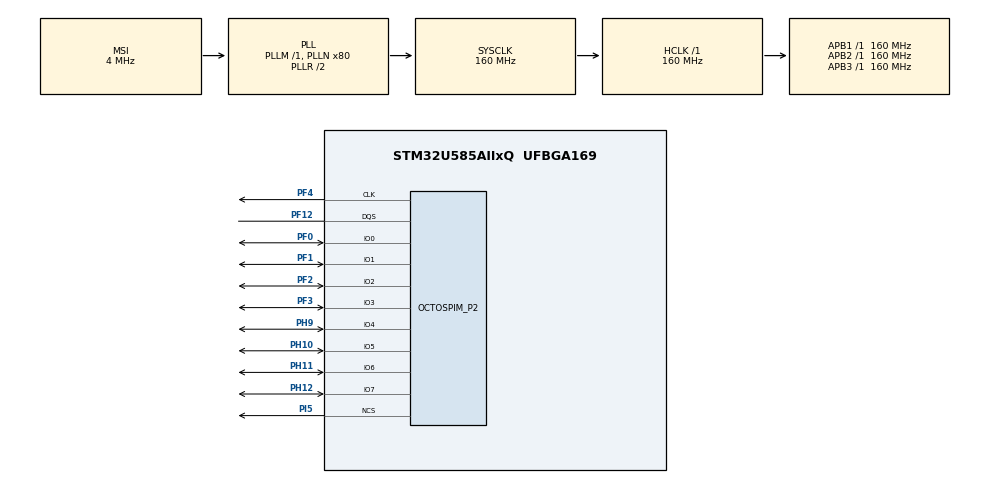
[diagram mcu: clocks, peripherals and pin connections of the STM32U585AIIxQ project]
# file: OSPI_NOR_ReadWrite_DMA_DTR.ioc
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CORTEX_M33_NS.userName=CORTEX_M33
DCACHE1.DCACHE_Read_Burst_Type=DCACHE_READ_BURST_INCR
GPDMA1.DESTBURSTLENGTH_GPDMACH12=4
GPDMA1.DESTDATAWIDTH_GPDMACH12=DMA_DEST_DATAWIDTH_WORD
GPDMA1.DESTINC_GPDMACH12=DMA_DINC_INCREMENTED
GPDMA1.IPHANDLE_GPDMACH12-SIMPLEREQUEST_GPDMACH12=__NULL
GPDMA1.PRIORITY_GPDMACH12=DMA_HIGH_PRIORITY
GPDMA1.REQUEST_GPDMACH12=GPDMA1_REQUEST_OCTOSPI2
GPDMA1.SRCBURSTLENGTH_GPDMACH12=4
GPDMA1.SRCDATAWIDTH_GPDMACH12=DMA_SRC_DATAWIDTH_WORD
GPDMA1.TRANSFERALLOCATEDPORTDEST_GPDMACH12=DMA_DEST_ALLOCATED_PORT1
Mcu.Family=STM32U5
Mcu.Name=STM32U585AIIxQ
Mcu.Package=UFBGA169
NVIC.GPDMA1_Channel12_IRQn=true\:0\:0\:false\:false\:true\:false\:true\:true
NVIC.OCTOSPI2_IRQn=true\:0\:0\:false\:false\:true\:true\:true\:true
NVIC.PriorityGroup=NVIC_PRIORITYGROUP_4
OCTOSPI2.ChipSelectBoundary=0
OCTOSPI2.ChipSelectHighTime=2
OCTOSPI2.ClockPrescaler=4
OCTOSPI2.DelayBlockBypass=HAL_OSPI_DELAY_BLOCK_USED
OCTOSPI2.DelayHoldQuarterCycle=HAL_OSPI_DHQC_ENABLE
OCTOSPI2.DeviceSize=26
OCTOSPI2.FifoThreshold=16
OCTOSPI2.MemoryType=HAL_OSPI_MEMTYPE_MACRONIX
OCTOSPI2.PhaseSel=2
OCTOSPI2.Units=56
PF0.GPIO_Speed_High_Default=GPIO_SPEED_FREQ_HIGH
PF0.Mode=OCTOSPI2_IOL_Port2L
PF0.Signal=OCTOSPIM_P2_IO0
PF1.GPIO_Speed_High_Default=GPIO_SPEED_FREQ_HIGH
PF1.Mode=OCTOSPI2_IOL_Port2L
PF1.Signal=OCTOSPIM_P2_IO1
PF12.GPIO_Speed_High_Default=GPIO_SPEED_FREQ_HIGH
PF12.Mode=OCTOSPI2_Port2_DQS
PF12.Signal=OCTOSPIM_P2_DQS
PF2.GPIO_Speed_High_Default=GPIO_SPEED_FREQ_HIGH
PF2.Mode=OCTOSPI2_IOL_Port2L
PF2.Signal=OCTOSPIM_P2_IO2
PF3.GPIO_Speed_High_Default=GPIO_SPEED_FREQ_HIGH
PF3.Mode=OCTOSPI2_IOL_Port2L
PF3.Signal=OCTOSPIM_P2_IO3
PF4.GPIO_Speed_High_Default=GPIO_SPEED_FREQ_HIGH
PF4.Mode=O2_P2_CLK
PF4.Signal=OCTOSPIM_P2_CLK
PH10.GPIO_Speed_High_Default=GPIO_SPEED_FREQ_HIGH
PH10.Mode=OCTOSPI2_IOH_Port2H
PH10.Signal=OCTOSPIM_P2_IO5
PH11.GPIO_Speed_High_Default=GPIO_SPEED_FREQ_HIGH
PH11.Mode=OCTOSPI2_IOH_Port2H
PH11.Signal=OCTOSPIM_P2_IO6
PH12.GPIO_Speed_High_Default=GPIO_SPEED_FREQ_HIGH
PH12.Mode=OCTOSPI2_IOH_Port2H
PH12.Signal=OCTOSPIM_P2_IO7
PH9.GPIO_Speed_High_Default=GPIO_SPEED_FREQ_HIGH
PH9.Mode=OCTOSPI2_IOH_Port2H
PH9.Signal=OCTOSPIM_P2_IO4
PI5.GPIO_PuPd=GPIO_NOPULL
PI5.GPIO_Speed_High_Default=GPIO_SPEED_FREQ_HIGH
PI5.Mode=OCTOSPI2_Port2_NCS
PI5.Signal=OCTOSPIM_P2_NCS
PWR.PowerMode=PWR_SMPS_SUPPLY
ProjectManager.HeapSize=0x200
ProjectManager.StackSize=0x400
ProjectManager.TargetToolchain=EWARM V8.50
RCC.ADCFreq_Value=16000000
RCC.AHBFreq_Value=160000000
RCC.APB1Freq_Value=160000000
RCC.APB1TimFreq_Value=160000000
RCC.APB2Freq_Value=160000000
RCC.APB2TimFreq_Value=160000000
RCC.APB3Freq_Value=160000000
RCC.CortexFreq_Value=160000000
RCC.DACCLockSelectionVirtual=RCC_DAC1CLKSOURCE_LSI
RCC.DACCLockSelectionVirtualString=RCC_DAC1CLKSOURCE_LSI
RCC.EPOD_VALUE=4000000
RCC.HCLKFreq_Value=160000000
RCC.HSE_VALUE=16000000
RCC.HSI48_VALUE=48000000
RCC.HSI_VALUE=16000000
RCC.LSE_VALUE=32768
RCC.LSIDIV_VALUE=32000
RCC.MSI_VALUE=4000000
RCC.PLLN=80
RCC.SYSCLKFreq_VALUE=160000000
RCC.SYSCLKSource=RCC_SYSCLKSOURCE_PLLCLK
RCC.USBFreq_Value=48000000
RCC.VCOOutputFreq_Value=320000000
VP_DCACHE1_VS_DCACHE.Mode=DCACHE_Activate
VP_GPDMA1_VS_GPDMACH12.Mode=SIMPLEREQUEST_GPDMACH12
VP_ICACHE_VS_ICACHE.Mode=DirectMappedCache
VP_LPBAMQUEUE_VS_QUEUE.Mode=QUEUEMODE
VP_LPBAM_VS_SIG1.Mode=SmartRun
VP_LPBAM_VS_SIG4.Mode=LPDMA1
VP_OCTOSPI2_VS_octo.Mode=octo_mode
VP_PWR_VS_DBSignals.Mode=DisableDeadBatterySignals
VP_PWR_VS_LPOM.Mode=PowerOptimisation
VP_PWR_VS_SECSignals.Mode=Security/Privilege
board=custom

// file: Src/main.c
/* USER CODE BEGIN Header */
/**
  ******************************************************************************
  * @file           : main.c
  * @brief          : Main program body
  ******************************************************************************
  * @attention
  *
  * Copyright (c) 2021 STMicroelectronics.
  * All rights reserved.
  *
  * This software is licensed under terms that can be found in the LICENSE file
  * in the root directory of this software component.
  * If no LICENSE file comes with this software, it is provided AS-IS.
  *
  ******************************************************************************
  */
/* USER CODE END Header */
#include "main.h"

DCACHE_HandleTypeDef hdcache1;

OSPI_HandleTypeDef hospi2;
DMA_HandleTypeDef handle_GPDMA1_Channel12;

/* USER CODE BEGIN PV */
uint8_t CmdCplt, TxCplt , StatusMatch , RxCplt;

/* Buffer used for transmission */
uint8_t aTxBuffer[BUFFERSIZE];

/* Buffer used for reception */
uint8_t aRxBuffer[BUFFERSIZE];
/* USER CODE END PV */

void SystemClock_Config(void);
static void SystemPower_Config(void);
static void MX_GPIO_Init(void);
static void MX_GPDMA1_Init(void);
static void MX_ICACHE_Init(void);
static void MX_DCACHE1_Init(void);
static void MX_OCTOSPI2_Init(void);
/* USER CODE BEGIN PFP */
static void OSPI_WriteEnable(OSPI_HandleTypeDef *hospi);
static void OSPI_AutoPollingMemReady(OSPI_HandleTypeDef *hospi);
static void OSPI_OctalDtrModeCfg(OSPI_HandleTypeDef *hospi);
/* USER CODE END PFP */

int main(void)
{

  /* USER CODE BEGIN 1 */
  OSPI_RegularCmdTypeDef sCommand = {0};
  uint32_t address = 0;
  uint16_t index, errorBuffer = 0;
  __IO uint8_t step = 0;
  /* STM32U5xx HAL library initialization:
  - Configure the Flash prefetch
  - Configure the Systick to generate an interrupt each 1 msec
  - Set NVIC Group Priority to 3
  - Low Level Initialization
  */
  /* USER CODE END 1 */

  /* MCU Configuration--------------------------------------------------------*/

  /* Reset of all peripherals, Initializes the Flash interface and the Systick. */
  HAL_Init();

  /* Configure the System Power */
  SystemPower_Config();

  /* Configure the system clock */
  SystemClock_Config();

  /* USER CODE BEGIN SysInit */
  BSP_LED_Init(LED6);
  BSP_LED_Init(LED7);
  /* USER CODE END SysInit */

  /* Initialize all configured peripherals */
  MX_GPIO_Init();
  MX_GPDMA1_Init();
  MX_ICACHE_Init();
  MX_DCACHE1_Init();
  MX_OCTOSPI2_Init();
  /* USER CODE BEGIN 2 */
  /* Configure the memory in octal mode ------------------------------------- */
  OSPI_OctalDtrModeCfg(&hospi2);

  /* USER CODE END 2 */

  /* Infinite loop */
  /* USER CODE BEGIN WHILE */
  while (1)
  {
    switch(step)
    {
    case 0:
      CmdCplt = 0;

      /* Initialize Transmission and Reception buffer --------------------------------------- */
      for (index = 0; index < BUFFERSIZE; index++)
      {
        aTxBuffer[index] = index;
        aRxBuffer[index] = 0;
      }

      /* Enable write operations ------------------------------------------- */
      OSPI_WriteEnable(&hospi2);

      /* Erasing Sequence -------------------------------------------------- */
      sCommand.OperationType      = HAL_OSPI_OPTYPE_COMMON_CFG;
      sCommand.FlashId            = HAL_OSPI_FLASH_ID_1;
      sCommand.Instruction        = OCTAL_SECTOR_ERASE_CMD;
      sCommand.InstructionMode    = HAL_OSPI_INSTRUCTION_8_LINES;
      sCommand.InstructionSize    = HAL_OSPI_INSTRUCTION_16_BITS;
      sCommand.InstructionDtrMode = HAL_OSPI_INSTRUCTION_DTR_ENABLE;
      sCommand.AddressMode        = HAL_OSPI_ADDRESS_8_LINES;
      sCommand.Address            = address;
      sCommand.AddressSize        = HAL_OSPI_ADDRESS_32_BITS;
      sCommand.AddressDtrMode     = HAL_OSPI_ADDRESS_DTR_ENABLE;
      sCommand.DataMode           = HAL_OSPI_DATA_NONE;
      sCommand.DummyCycles        = 0;
      sCommand.DQSMode            = HAL_OSPI_DQS_DISABLE;
      sCommand.AlternateBytesMode = HAL_OSPI_ALTERNATE_BYTES_NONE;
      sCommand.DataDtrMode        = HAL_OSPI_DATA_DTR_ENABLE;
      sCommand.SIOOMode           = HAL_OSPI_SIOO_INST_EVERY_CMD;

      if (HAL_OSPI_Command_IT(&hospi2, &sCommand) != HAL_OK)
      {
        Error_Handler();
      }

      step++;

      break;

    case 1:

      if(CmdCplt != 0)
      {
        CmdCplt = 0;
        TxCplt = 0;

        /* Configure automatic polling mode to wait for end of erase ------ */
        OSPI_AutoPollingMemReady(&hospi2);

        /* Enable write operations ---------------------------------------- */
        OSPI_WriteEnable(&hospi2);

        /* Writing Sequence ----------------------------------------------- */
        sCommand.Instruction = OCTAL_PAGE_PROG_CMD;
        sCommand.DataMode    = HAL_OSPI_DATA_8_LINES;
        sCommand.NbData      = BUFFERSIZE;

        if (HAL_OSPI_Command(&hospi2, &sCommand, HAL_OSPI_TIMEOUT_DEFAULT_VALUE) != HAL_OK)
        {
          Error_Handler();
        }

        if (HAL_OSPI_Transmit_DMA(&hospi2, aTxBuffer) != HAL_OK)
        {
          Error_Handler();
        }

        step++;
      }
      break;

    case 2:

      if(TxCplt != 0)
      {
        TxCplt = 0;
        RxCplt = 0;

        /* Configure automatic polling mode to wait for end of program ---- */
        OSPI_AutoPollingMemReady(&hospi2);

        /* Reading Sequence ----------------------------------------------- */
        sCommand.Instruction = OCTAL_IO_DTR_READ_CMD;
        sCommand.DummyCycles = DUMMY_CLOCK_CYCLES_READ;
        sCommand.DQSMode     = HAL_OSPI_DQS_ENABLE;

        if (HAL_OSPI_Command(&hospi2, &sCommand, HAL_OSPI_TIMEOUT_DEFAULT_VALUE) != HAL_OK)
        {
          Error_Handler();
        }

        if (HAL_OSPI_Receive_DMA(&hospi2, aRxBuffer) != HAL_OK)
        {
          Error_Handler();
        }
        step++;
      }
      break;

    case 3:

      if (RxCplt != 0)
      {
        RxCplt = 0;

        /* Result comparison ----------------------------------------------- */
        for (index = 0; index < BUFFERSIZE; index++)
        {
          if (aRxBuffer[index] != aTxBuffer[index])
          {
            BSP_LED_On(LED6);
            errorBuffer++;
          }
        }
        if (errorBuffer == 0)
        {
          BSP_LED_Toggle(LED7);
          HAL_Delay(50);
        }
        address += OSPI_PAGE_SIZE;
        if(address >= OSPI_END_ADDR)
        {
          address = 0;
        }
        step = 0;
      }

      break;

    default :
      Error_Handler();
    }
    /* USER CODE END WHILE */

  }
}

void SystemClock_Config(void)
{
  RCC_OscInitTypeDef RCC_OscInitStruct = {0};
  RCC_ClkInitTypeDef RCC_ClkInitStruct = {0};

  /** Configure the main internal regulator output voltage
  */
  if (HAL_PWREx_ControlVoltageScaling(PWR_REGULATOR_VOLTAGE_SCALE1) != HAL_OK)
  {
    Error_Handler();
  }

  /** Initializes the CPU, AHB and APB buses clocks
  */
  RCC_OscInitStruct.OscillatorType = RCC_OSCILLATORTYPE_MSI;
  RCC_OscInitStruct.MSIState = RCC_MSI_ON;
  RCC_OscInitStruct.MSICalibrationValue = RCC_MSICALIBRATION_DEFAULT;
  RCC_OscInitStruct.MSIClockRange = RCC_MSIRANGE_4;
  RCC_OscInitStruct.PLL.PLLState = RCC_PLL_ON;
  RCC_OscInitStruct.PLL.PLLSource = RCC_PLLSOURCE_MSI;
  RCC_OscInitStruct.PLL.PLLMBOOST = RCC_PLLMBOOST_DIV1;
  RCC_OscInitStruct.PLL.PLLM = 1;
  RCC_OscInitStruct.PLL.PLLN = 80;
  RCC_OscInitStruct.PLL.PLLP = 2;
  RCC_OscInitStruct.PLL.PLLQ = 2;
  RCC_OscInitStruct.PLL.PLLR = 2;
  RCC_OscInitStruct.PLL.PLLRGE = RCC_PLLVCIRANGE_0;
  RCC_OscInitStruct.PLL.PLLFRACN = 0;
  if (HAL_RCC_OscConfig(&RCC_OscInitStruct) != HAL_OK)
  {
    Error_Handler();
  }

  /** Initializes the CPU, AHB and APB buses clocks
  */
  RCC_ClkInitStruct.ClockType = RCC_CLOCKTYPE_HCLK|RCC_CLOCKTYPE_SYSCLK
                              |RCC_CLOCKTYPE_PCLK1|RCC_CLOCKTYPE_PCLK2
                              |RCC_CLOCKTYPE_PCLK3;
  RCC_ClkInitStruct.SYSCLKSource = RCC_SYSCLKSOURCE_PLLCLK;
  RCC_ClkInitStruct.AHBCLKDivider = RCC_SYSCLK_DIV1;
  RCC_ClkInitStruct.APB1CLKDivider = RCC_HCLK_DIV1;
  RCC_ClkInitStruct.APB2CLKDivider = RCC_HCLK_DIV1;
  RCC_ClkInitStruct.APB3CLKDivider = RCC_HCLK_DIV1;

  if (HAL_RCC_ClockConfig(&RCC_ClkInitStruct, FLASH_LATENCY_4) != HAL_OK)
  {
    Error_Handler();
  }
}

/**
  * @brief Power Configuration
  * @retval None
  */
static void SystemPower_Config(void)
{

  /*
   * Disable the internal Pull-Up in Dead Battery pins of UCPD peripheral
   */
  HAL_PWREx_DisableUCPDDeadBattery();

  /*
   * Switch to SMPS regulator instead of LDO
   */
  if (HAL_PWREx_ConfigSupply(PWR_SMPS_SUPPLY) != HAL_OK)
  {
    Error_Handler();
  }
}

static void MX_DCACHE1_Init(void)
{

  hdcache1.Instance = DCACHE1;
  hdcache1.Init.ReadBurstType = DCACHE_READ_BURST_INCR;
  if (HAL_DCACHE_Init(&hdcache1) != HAL_OK)
  {
    Error_Handler();
  }

}

static void MX_GPDMA1_Init(void)
{

  /* Peripheral clock enable */
  __HAL_RCC_GPDMA1_CLK_ENABLE();

  /* GPDMA1 interrupt Init */
    HAL_NVIC_SetPriority(GPDMA1_Channel12_IRQn, 0, 0);
    HAL_NVIC_EnableIRQ(GPDMA1_Channel12_IRQn);

}

static void MX_ICACHE_Init(void)
{

  /** Enable instruction cache in 1-way (direct mapped cache)
  */
  if (HAL_ICACHE_ConfigAssociativityMode(ICACHE_1WAY) != HAL_OK)
  {
    Error_Handler();
  }
  if (HAL_ICACHE_Enable() != HAL_OK)
  {
    Error_Handler();
  }

}

static void MX_OCTOSPI2_Init(void)
{

  OSPIM_CfgTypeDef sOspiManagerCfg = {0};
  HAL_OSPI_DLYB_CfgTypeDef HAL_OSPI_DLYB_Cfg_Struct = {0};

  /* OCTOSPI2 parameter configuration*/
  hospi2.Instance = OCTOSPI2;
  hospi2.Init.FifoThreshold = 16;
  hospi2.Init.DualQuad = HAL_OSPI_DUALQUAD_DISABLE;
  hospi2.Init.MemoryType = HAL_OSPI_MEMTYPE_MACRONIX;
  hospi2.Init.DeviceSize = 26;
  hospi2.Init.ChipSelectHighTime = 2;
  hospi2.Init.FreeRunningClock = HAL_OSPI_FREERUNCLK_DISABLE;
  hospi2.Init.ClockMode = HAL_OSPI_CLOCK_MODE_0;
  hospi2.Init.WrapSize = HAL_OSPI_WRAP_NOT_SUPPORTED;
  hospi2.Init.ClockPrescaler = 4;
  hospi2.Init.SampleShifting = HAL_OSPI_SAMPLE_SHIFTING_NONE;
  hospi2.Init.DelayHoldQuarterCycle = HAL_OSPI_DHQC_ENABLE;
  hospi2.Init.ChipSelectBoundary = 0;
  hospi2.Init.DelayBlockBypass = HAL_OSPI_DELAY_BLOCK_USED;
  hospi2.Init.MaxTran = 0;
  hospi2.Init.Refresh = 0;
  if (HAL_OSPI_Init(&hospi2) != HAL_OK)
  {
    Error_Handler();
  }
  sOspiManagerCfg.ClkPort = 2;
  sOspiManagerCfg.DQSPort = 2;
  sOspiManagerCfg.NCSPort = 2;
  sOspiManagerCfg.IOLowPort = HAL_OSPIM_IOPORT_2_LOW;
  sOspiManagerCfg.IOHighPort = HAL_OSPIM_IOPORT_2_HIGH;
  if (HAL_OSPIM_Config(&hospi2, &sOspiManagerCfg, HAL_OSPI_TIMEOUT_DEFAULT_VALUE) != HAL_OK)
  {
    Error_Handler();
  }
  HAL_OSPI_DLYB_Cfg_Struct.Units = 56;
  HAL_OSPI_DLYB_Cfg_Struct.PhaseSel = 2;
  if (HAL_OSPI_DLYB_SetConfig(&hospi2, &HAL_OSPI_DLYB_Cfg_Struct) != HAL_OK)
  {
    Error_Handler();
  }

}

static void MX_GPIO_Init(void)
{

  /* GPIO Ports Clock Enable */
  __HAL_RCC_GPIOI_CLK_ENABLE();
  __HAL_RCC_GPIOH_CLK_ENABLE();
  __HAL_RCC_GPIOF_CLK_ENABLE();

}

/* USER CODE BEGIN 4 */
/**
  * @brief  Rx Transfer completed callbacks.
  * @param  hospi: OSPI handle
  * @retval None
  */
void HAL_OSPI_RxCpltCallback(OSPI_HandleTypeDef *hospi)
{
  RxCplt++;
}

/**
  * @brief  Command completed callback.
  * @param  hospi: OSPI handle
  * @retval None
  */
void HAL_OSPI_CmdCpltCallback(OSPI_HandleTypeDef *hospi)
{
  CmdCplt++;
}

/**
  * @brief  Tx Transfer completed callbacks.
  * @param  hospi: OSPI handle
  * @retval None
  */
 void HAL_OSPI_TxCpltCallback(OSPI_HandleTypeDef *hospi)
{
  TxCplt++;
}

/**
  * @brief  Status Match callbacks
  * @param  hospi: OSPI handle
  * @retval None
  */
void HAL_OSPI_StatusMatchCallback(OSPI_HandleTypeDef *hospi)
{
  StatusMatch++;
}

/**
  * @brief  Transfer Error callback.
  * @param  hospi: OSPI handle
  * @retval None
  */
void HAL_OSPI_ErrorCallback(OSPI_HandleTypeDef *hospi)
{
  Error_Handler();
}

/**
  * @brief  This function send a Write Enable and wait it is effective.
  * @param  hospi: OSPI handle
  * @retval None
  */
static void OSPI_WriteEnable(OSPI_HandleTypeDef *hospi)
{
  OSPI_RegularCmdTypeDef  sCommand = {0};
  uint8_t reg[2];

  /* Enable write operations ------------------------------------------ */
  sCommand.OperationType      = HAL_OSPI_OPTYPE_COMMON_CFG;
  sCommand.FlashId            = HAL_OSPI_FLASH_ID_1;
  sCommand.Instruction        = OCTAL_WRITE_ENABLE_CMD;
  sCommand.InstructionMode    = HAL_OSPI_INSTRUCTION_8_LINES;
  sCommand.InstructionSize    = HAL_OSPI_INSTRUCTION_16_BITS;
  sCommand.InstructionDtrMode = HAL_OSPI_INSTRUCTION_DTR_ENABLE;
  sCommand.AddressMode        = HAL_OSPI_ADDRESS_NONE;
  sCommand.AlternateBytesMode = HAL_OSPI_ALTERNATE_BYTES_NONE;
  sCommand.DataMode           = HAL_OSPI_DATA_NONE;
  sCommand.DummyCycles        = 0;
  sCommand.DQSMode            = HAL_OSPI_DQS_DISABLE;
  sCommand.SIOOMode           = HAL_OSPI_SIOO_INST_EVERY_CMD;

  if (HAL_OSPI_Command(hospi, &sCommand, HAL_OSPI_TIMEOUT_DEFAULT_VALUE) != HAL_OK)
  {
    Error_Handler();
  }

  /* Configure automatic polling mode to wait for write enabling ---- */
  sCommand.Instruction    = OCTAL_READ_STATUS_REG_CMD;
  sCommand.Address        = 0x0;
  sCommand.AddressMode    = HAL_OSPI_ADDRESS_8_LINES;
  sCommand.AddressSize    = HAL_OSPI_ADDRESS_32_BITS;
  sCommand.AddressDtrMode = HAL_OSPI_ADDRESS_DTR_ENABLE;
  sCommand.DataMode       = HAL_OSPI_DATA_8_LINES;
  sCommand.DataDtrMode    = HAL_OSPI_DATA_DTR_ENABLE;
  sCommand.NbData         = 2;
  sCommand.DummyCycles    = DUMMY_CLOCK_CYCLES_READ_OCTAL;
  sCommand.DQSMode        = HAL_OSPI_DQS_ENABLE;

   do
  {
    if (HAL_OSPI_Command(hospi, &sCommand, HAL_OSPI_TIMEOUT_DEFAULT_VALUE) != HAL_OK)
    {
      Error_Handler();
    }

    if (HAL_OSPI_Receive(hospi, reg, HAL_OSPI_TIMEOUT_DEFAULT_VALUE) != HAL_OK)
    {
      Error_Handler();
    }
  } while((reg[0] & WRITE_ENABLE_MASK_VALUE) != WRITE_ENABLE_MATCH_VALUE);
}

/**
  * @brief  This function read the SR of the memory and wait the EOP.
  * @param  hospi: OSPI handle
  * @retval None
  */
static void OSPI_AutoPollingMemReady(OSPI_HandleTypeDef *hospi)
{
  OSPI_RegularCmdTypeDef  sCommand = {0};
  uint8_t reg[2];

  /* Configure automatic polling mode to wait for memory ready ------ */
  sCommand.OperationType      = HAL_OSPI_OPTYPE_COMMON_CFG;
  sCommand.FlashId            = HAL_OSPI_FLASH_ID_1;
  sCommand.Instruction        = OCTAL_READ_STATUS_REG_CMD;
  sCommand.InstructionMode    = HAL_OSPI_INSTRUCTION_8_LINES;
  sCommand.InstructionSize    = HAL_OSPI_INSTRUCTION_16_BITS;
  sCommand.InstructionDtrMode = HAL_OSPI_INSTRUCTION_DTR_ENABLE;
  sCommand.Address            = 0x0;
  sCommand.AddressMode        = HAL_OSPI_ADDRESS_8_LINES;
  sCommand.AddressSize        = HAL_OSPI_ADDRESS_32_BITS;
  sCommand.AddressDtrMode     = HAL_OSPI_ADDRESS_DTR_ENABLE;
  sCommand.AlternateBytesMode = HAL_OSPI_ALTERNATE_BYTES_NONE;
  sCommand.DataMode           = HAL_OSPI_DATA_8_LINES;
  sCommand.DataDtrMode        = HAL_OSPI_DATA_DTR_ENABLE;
  sCommand.NbData             = 2;
  sCommand.DummyCycles        = DUMMY_CLOCK_CYCLES_READ_OCTAL;
  sCommand.DQSMode            = HAL_OSPI_DQS_ENABLE;
  sCommand.SIOOMode           = HAL_OSPI_SIOO_INST_EVERY_CMD;

  do
  {
    if (HAL_OSPI_Command(hospi, &sCommand, HAL_OSPI_TIMEOUT_DEFAULT_VALUE) != HAL_OK)
    {
      Error_Handler();
    }

    if (HAL_OSPI_Receive(hospi, reg, HAL_OSPI_TIMEOUT_DEFAULT_VALUE) != HAL_OK)
    {
      Error_Handler();
    }
  } while((reg[0] & MEMORY_READY_MASK_VALUE) != MEMORY_READY_MATCH_VALUE);
  StatusMatch++;
}

/**
  * @brief  This function configure the memory in Octal DTR mode.
  * @param  hospi: OSPI handle
  * @retval None
  */
static void OSPI_OctalDtrModeCfg(OSPI_HandleTypeDef *hospi)
{
  uint8_t reg;
  OSPI_RegularCmdTypeDef  sCommand = {0};
  OSPI_AutoPollingTypeDef sConfig  = {0};

  sCommand.OperationType      = HAL_OSPI_OPTYPE_COMMON_CFG;
  sCommand.FlashId            = HAL_OSPI_FLASH_ID_1;
  sCommand.InstructionMode    = HAL_OSPI_INSTRUCTION_1_LINE;
  sCommand.InstructionSize    = HAL_OSPI_INSTRUCTION_8_BITS;
  sCommand.InstructionDtrMode = HAL_OSPI_INSTRUCTION_DTR_DISABLE;
  sCommand.AddressDtrMode     = HAL_OSPI_ADDRESS_DTR_DISABLE;
  sCommand.AlternateBytesMode = HAL_OSPI_ALTERNATE_BYTES_NONE;
  sCommand.DataDtrMode        = HAL_OSPI_DATA_DTR_DISABLE;
  sCommand.DummyCycles        = 0;
  sCommand.DQSMode            = HAL_OSPI_DQS_DISABLE;
  sCommand.SIOOMode           = HAL_OSPI_SIOO_INST_EVERY_CMD;

  sConfig.MatchMode           = HAL_OSPI_MATCH_MODE_AND;
  sConfig.AutomaticStop       = HAL_OSPI_AUTOMATIC_STOP_ENABLE;
  sConfig.Interval            = 0x10;

  /* Enable write operations */
  sCommand.Instruction = WRITE_ENABLE_CMD;
  sCommand.DataMode    = HAL_OSPI_DATA_NONE;
  sCommand.AddressMode = HAL_OSPI_ADDRESS_NONE;

  if (HAL_OSPI_Command(hospi, &sCommand, HAL_OSPI_TIMEOUT_DEFAULT_VALUE) != HAL_OK)
  {
    Error_Handler();
  }

  /* Reconfigure OSPI to automatic polling mode to wait for write enabling */
  sConfig.Match           = 0x02;
  sConfig.Mask            = 0x02;

  sCommand.Instruction    = READ_STATUS_REG_CMD;
  sCommand.DataMode       = HAL_OSPI_DATA_1_LINE;
  sCommand.NbData         = 1;

  if (HAL_OSPI_Command(hospi, &sCommand, HAL_OSPI_TIMEOUT_DEFAULT_VALUE) != HAL_OK)
  {
    Error_Handler();
  }

  if (HAL_OSPI_AutoPolling(hospi, &sConfig, HAL_OSPI_TIMEOUT_DEFAULT_VALUE) != HAL_OK)
  {
    Error_Handler();
  }

  /* Write Configuration register 2 (with Octal I/O SPI protocol) */
  sCommand.Instruction = WRITE_CFG_REG_2_CMD;
  sCommand.AddressMode = HAL_OSPI_ADDRESS_1_LINE;
  sCommand.AddressSize = HAL_OSPI_ADDRESS_32_BITS;

  sCommand.Address = 0;
  reg = 0x2;

  if (HAL_OSPI_Command(hospi, &sCommand, HAL_OSPI_TIMEOUT_DEFAULT_VALUE) != HAL_OK)
  {
    Error_Handler();
  }

  if (HAL_OSPI_Transmit(hospi, &reg, HAL_OSPI_TIMEOUT_DEFAULT_VALUE) != HAL_OK)
  {
    Error_Handler();
  }

  HAL_Delay(40);

}
/* USER CODE END 4 */

void Error_Handler(void)
{
  /* USER CODE BEGIN Error_Handler_Debug */
  /* User can add his own implementation to report the HAL error return state */
  __disable_irq();
  while (1)
  {
    HAL_Delay(100);
    BSP_LED_Toggle(LED6);
  }
  /* USER CODE END Error_Handler_Debug */
}
